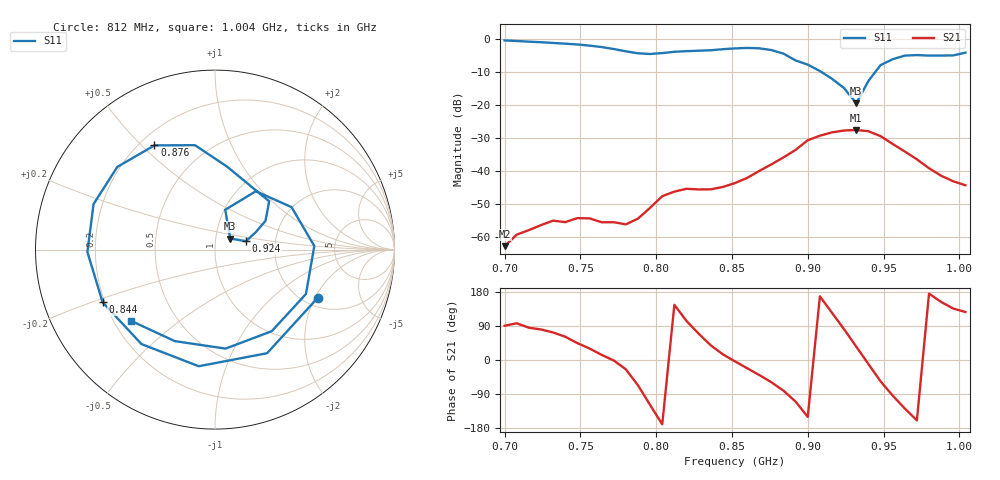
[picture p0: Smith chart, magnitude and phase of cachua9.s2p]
# Hz S RI R 50
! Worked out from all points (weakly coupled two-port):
!   39 points, 700 MHz to 1.004 GHz, reference 50 ohm
!   highest |S21| = -27.60 dB at 932 MHz (marker M1); lowest = -62.7 dB at 700 MHz (marker M2)
!   lowest |S11| = -19.6 dB at 932 MHz (marker M3), VSWR 1.24, Z = 58.8 + j7.34 ohm
!   |S11| at or under -10 dB: 908.7 MHz to 944.7 MHz (36.02 MHz wide, 3.89 % of centre)
!   S12 and S22 are empty: the file has one direction only
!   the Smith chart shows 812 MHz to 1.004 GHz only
!   S11 on the Smith chart (normalised r, x): 812 MHz: 2.36, -2.11; 844 MHz: 0.19, -0.22; 876 MHz: 0.26, +0.55; 924 MHz: 1.41, +0.14; 1.004 GHz: 0.27, -0.34
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7e8  0.7586 0.5503  -4.96e-06 0.000735  0 0  0 0
7.24e8  0.8445 -0.2504  0.00025 0.00151  0 0  0 0
7.4e8  0.4585 -0.7014  0.000812 0.00149  0 0  0 0
7.56e8  -0.1893 -0.7602  0.00167 0.000979  0 0  0 0
7.72e8  -0.6653 -0.2042  0.00169 -3.73e-05  0 0  0 0
7.8e8  -0.6042 0.2184  0.00143 -0.000655  0 0  0 0
7.88e8  -0.2622 0.5394  0.000754 -0.00176  0 0  0 0
7.96e8  0.2293 0.5391  -0.00134 -0.00245  0 0  0 0
8.04e8  0.5714 0.1958  -0.00411 -0.000749  0 0  0 0
8.12e8  0.573 -0.268  -0.00404 0.00277  0 0  0 0
8.28e8  -0.0904 -0.6498  0.00185 0.00495  0 0  0 0
8.44e8  -0.6262 -0.2936  0.00556 0.00148  0 0  0 0
8.52e8  -0.711 -0.0133  0.00658 -0.000425  0 0  0 0
8.76e8  -0.3372 0.5807  0.00655 -0.0108  0 0  0 0
9e8  0.3019 0.2694  -0.0253 -0.0145  0 0  0 0
9.08e8  0.2813 0.1599  -0.0335 0.0071  0 0  0 0
9.24e8  0.1725 0.0468  0.00642 0.0405  0 0  0 0
9.32e8  0.0852 0.0617  0.034 0.0241  0 0  0 0
9.56e8  0.4263 0.2369  -0.00175 -0.0256  0 0  0 0
9.72e8  0.5068 -0.2474  -0.0141 -0.00531  0 0  0 0
9.88e8  0.0591 -0.5516  -0.00759 0.00383  0 0  0 0
1.004e9  -0.4688 -0.3965  -0.00365 0.0049  0 0  0 0
